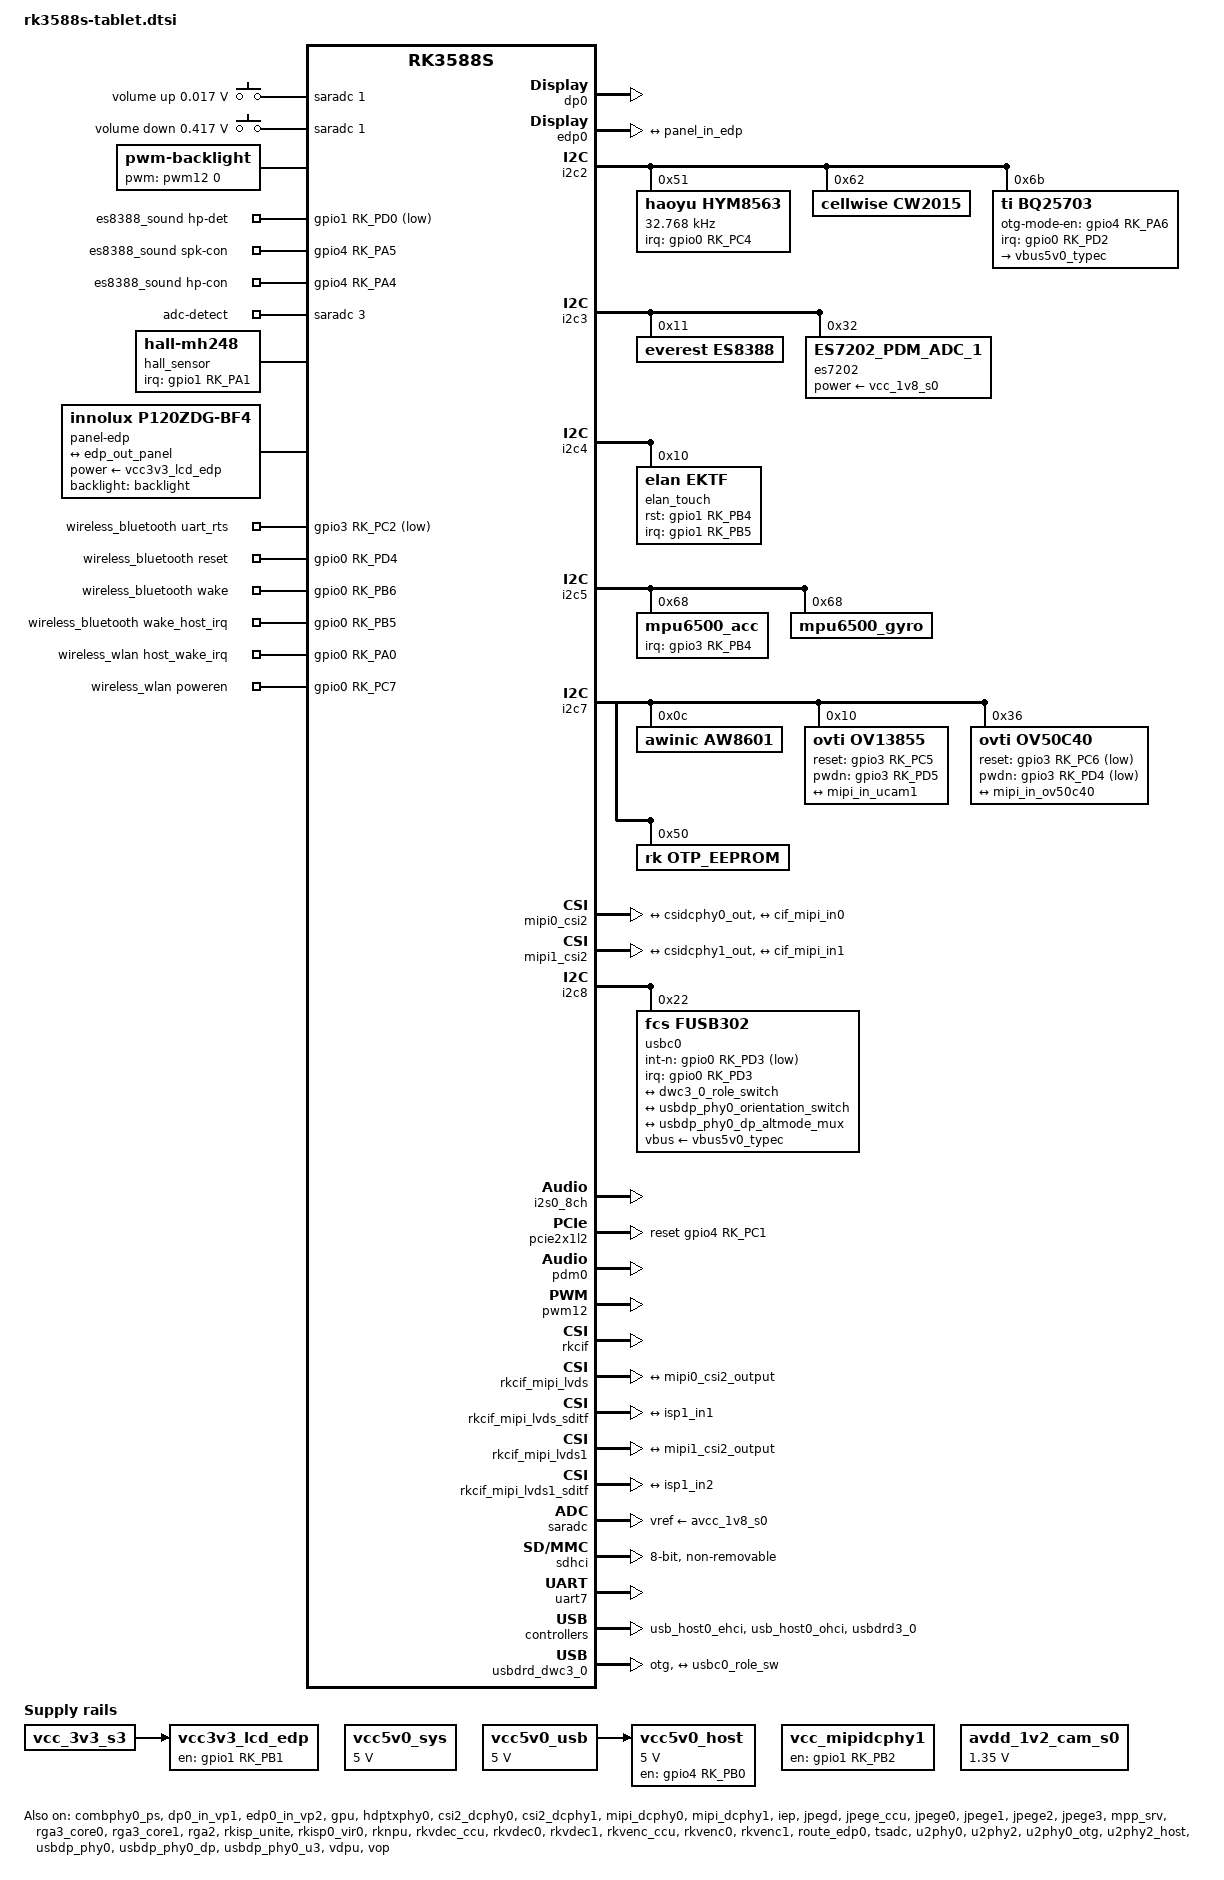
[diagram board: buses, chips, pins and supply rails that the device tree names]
// SPDX-License-Identifier: (GPL-2.0+ OR MIT)
/*
 * Copyright (c) 2021 Rockchip Electronics Co., Ltd.
 *
 */

#include <dt-bindings/usb/pd.h>
#include <dt-bindings/gpio/gpio.h>
#include <dt-bindings/pwm/pwm.h>
#include <dt-bindings/pinctrl/rockchip.h>
#include <dt-bindings/input/rk-input.h>
#include <dt-bindings/display/drm_mipi_dsi.h>
#include <dt-bindings/display/rockchip_vop.h>
#include <dt-bindings/sensor-dev.h>
#include "rk3588s.dtsi"
#include "rk3588-android.dtsi"
#include "rk3588s-rk806-dual.dtsi"

/ {
	adc_keys: adc-keys {
		compatible = "adc-keys";
		io-channels = <&saradc 1>;
		io-channel-names = "buttons";
		keyup-threshold-microvolt = <1800000>;
		poll-interval = <100>;

		vol-up-key {
			label = "volume up";
			linux,code = <KEY_VOLUMEUP>;
			press-threshold-microvolt = <17000>;
		};

		vol-down-key {
			label = "volume down";
			linux,code = <KEY_VOLUMEDOWN>;
			press-threshold-microvolt = <417000>;
		};
	};

	backlight: backlight {
		compatible = "pwm-backlight";
		pwms = <&pwm12 0 25000 0>;
		brightness-levels = <
			  0  20  20  21  21  22  22  23
			 23  24  24  25  25  26  26  27
			 27  28  28  29  29  30  30  31
			 31  32  32  33  33  34  34  35
			 35  36  36  37  37  38  38  39
			 40  41  42  43  44  45  46  47
			 48  49  50  51  52  53  54  55
			 56  57  58  59  60  61  62  63
			 64  65  66  67  68  69  70  71
			 72  73  74  75  76  77  78  79
			 80  81  82  83  84  85  86  87
			 88  89  90  91  92  93  94  95
			 96  97  98  99 100 101 102 103
			104 105 106 107 108 109 110 111
			112 113 114 115 116 117 118 119
			120 121 122 123 124 125 126 127
			128 129 130 131 132 133 134 135
			136 137 138 139 140 141 142 143
			144 145 146 147 148 149 150 151
			152 153 154 155 156 157 158 159
			160 161 162 163 164 165 166 167
			168 169 170 171 172 173 174 175
			176 177 178 179 180 181 182 183
			184 185 186 187 188 189 190 191
			192 193 194 195 196 197 198 199
			200 201 202 203 204 205 206 207
			208 209 210 211 212 213 214 215
			216 217 218 219 220 221 222 223
			224 225 226 227 228 229 230 231
			232 233 234 235 236 237 238 239
			240 241 242 243 244 245 246 247
			248 249 250 251 252 253 254 255
		>;
		default-brightness-level = <200>;
	};

	charge-animation {
		compatible = "rockchip,uboot-charge";
		rockchip,uboot-charge-on = <1>;
		rockchip,android-charge-on = <0>;
		rockchip,uboot-low-power-voltage = <6800>;
		rockchip,screen-on-voltage = <6900>;
		rockchip,uboot-exit-charge-level = <2>;
		rockchip,uboot-exit-charge-auto = <0>;
		rockchip,system-suspend = <1>;
		regulator-on-in-mem = <&vdd_log_s0>, <&vcc_2v0_pldo_s3>,
		      <&vdd2_ddr_s3>, <&vcc_1v1_nldo_s3>,
		      <&vdd1_1v8_ddr_s3>, <&vcc_1v8_s3>,
		      <&master_pldo6_s3>, <&vdd_0v75_s3>,
		      <&vdd2l_0v9_ddr_s3>, <&vdd_1v8_pll_s0>, <&pldo6_s3>;

		regulator-off-in-mem = <&vdd_gpu_s0>, <&vdd_npu_s0>,
		       <&vdd_vdenc_s0>, <&vdd_gpu_mem_s0>, <&vdd_npu_mem_s0>,
		       <&vdd_vdenc_mem_s0>, <&avcc_1v8_s0>, <&vcc_3v3_s0>,
		       <&vccio_sd_s0>, <&master_nldo3>, <&avdd_0v75_s0>,
		       <&vdd_0v85_s0>, <&vdd_cpu_big1_s0>, <&vdd_cpu_big0_s0>,
		       <&vdd_cpu_lit_s0>, <&vdd_cpu_big1_mem_s0>, <&vdd_cpu_big0_mem_s0>,
		       <&vcc_1v8_s0>, <&vdd_cpu_lit_mem_s0>, <&vddq_ddr_s0>,
		       <&vdd_ddr_s0>, <&vcc_1v8_cam_s0>, <&avdd1v8_ddr_pll_s0>,
		       <&vcc_3v3_sd_s0>, <&vcc_2v8_cam_s0>, <&vdd_0v75_pll_s0>,
		       <&vdd_ddr_pll_s0>, <&slave_nldo3>, <&avdd_1v2_cam_s0>,
		       <&avdd_1v2_s0>, <&vcc_3v3_s3>;
		status = "okay";
	};

	es7202_sound_micarray: es7202-sound-micarray {
		status = "okay";
		compatible = "simple-audio-card";
		simple-audio-card,format = "i2s";
		simple-audio-card,name = "rockchip,sound-micarray";
		simple-audio-card,mclk-fs = <256>;
		simple-audio-card,dai-link@0 {
			format = "pdm";
			cpu {
				sound-dai = <&pdm0>;
			};
			codec {
				sound-dai = <&es7202>;
			};
		};
	};

	es8388_sound: es8388-sound {
		status = "okay";
		compatible = "rockchip,multicodecs-card";
		rockchip,card-name = "rockchip,es8388-codec";
		hp-det-gpio = <&gpio1 RK_PD0 GPIO_ACTIVE_LOW>;
		io-channels = <&saradc 3>;
		io-channel-names = "adc-detect";
		keyup-threshold-microvolt = <1800000>;
		poll-interval = <100>;
		spk-con-gpio = <&gpio4 RK_PA5 GPIO_ACTIVE_HIGH>;
		hp-con-gpio = <&gpio4 RK_PA4 GPIO_ACTIVE_HIGH>;
		rockchip,format = "i2s";
		rockchip,mclk-fs = <256>;
		rockchip,cpu = <&i2s0_8ch>;
		rockchip,codec = <&es8388>;
		rockchip,audio-routing =
			"Headphone", "LOUT1",
			"Headphone", "ROUT1",
			"Speaker", "LOUT2",
			"Speaker", "ROUT2",
			"Headphone", "Headphone Power",
			"Headphone", "Headphone Power",
			"Speaker", "Speaker Power",
			"Speaker", "Speaker Power",
			"LINPUT1", "Main Mic",
			"LINPUT2", "Main Mic",
			"RINPUT1", "Headset Mic",
			"RINPUT2", "Headset Mic";
		pinctrl-names = "default";
		pinctrl-0 = <&hp_det>;
		play-pause-key {
			label = "playpause";
			linux,code = <KEY_PLAYPAUSE>;
			press-threshold-microvolt = <2000>;
		};
	};

	hall_sensor: hall-mh248 {
		compatible = "hall-mh248";
		pinctrl-names = "default";
		pinctrl-0 = <&mh248_irq_gpio>;
		irq-gpio = <&gpio1 RK_PA1 IRQ_TYPE_EDGE_BOTH>;
		hall-active = <1>;
		status = "okay";
	};

	panel-edp {
		compatible = "innolux,p120zdg-bf4", "simple-panel";
		backlight = <&backlight>;
		power-supply = <&vcc3v3_lcd_edp>;
		prepare-delay-ms = <120>;
		enable-delay-ms = <120>;
		unprepare-delay-ms = <500>;
		disable-delay-ms = <120>;
		width-mm = <254>;
		height-mm = <169>;

		panel-timing {
			clock-frequency = <206000000>;
			hactive = <2160>;
			vactive = <1440>;
			hfront-porch = <48>;
			hsync-len = <32>;
			hback-porch = <80>;
			vfront-porch = <3>;
			vsync-len = <10>;
			vback-porch = <27>;
			hsync-active = <0>;
			vsync-active = <0>;
			de-active = <0>;
			pixelclk-active = <0>;
		};

		port {
			panel_in_edp: endpoint {
				remote-endpoint = <&edp_out_panel>;
			};
		};
	};

	vcc3v3_lcd_edp: vcc3v3-lcd-edp {
		compatible = "regulator-fixed";
		regulator-name = "vcc3v3_lcd_edp";
		regulator-boot-on;
		gpio = <&gpio1 RK_PB1 GPIO_ACTIVE_HIGH>;
		enable-active-high;
		vin-supply = <&vcc_3v3_s3>;
	};

	vcc5v0_host: vcc5v0-host {
		compatible = "regulator-fixed";
		regulator-name = "vcc5v0_host";
		regulator-boot-on;
		regulator-always-on;
		regulator-min-microvolt = <5000000>;
		regulator-max-microvolt = <5000000>;
		enable-active-high;
		gpio = <&gpio4 RK_PB0 GPIO_ACTIVE_HIGH>;
		vin-supply = <&vcc5v0_usb>;
		pinctrl-names = "default";
		pinctrl-0 = <&vcc5v0_host_en>;
	};

	vcc5v0_sys: vcc5v0-sys {
		compatible = "regulator-fixed";
		regulator-name = "vcc5v0_sys";
		regulator-always-on;
		regulator-boot-on;
		regulator-min-microvolt = <5000000>;
		regulator-max-microvolt = <5000000>;
	};

	vcc5v0_usb: vcc5v0-usb {
		compatible = "regulator-fixed";
		regulator-name = "vcc5v0_usb";
		regulator-always-on;
		regulator-boot-on;
		regulator-min-microvolt = <5000000>;
		regulator-max-microvolt = <5000000>;
	};

	vcc_mipidcphy1: vcc-mipidcphy1-regulator {
		compatible = "regulator-fixed";
		gpio = <&gpio1 RK_PB2 GPIO_ACTIVE_HIGH>;
		pinctrl-names = "default";
		pinctrl-0 = <&mipidcphy1_pwr>;
		regulator-name = "vcc_mipidcphy1";
		enable-active-high;
		regulator-always-on;
		regulator-boot-on;
	};

	wireless_bluetooth: wireless-bluetooth {
		compatible = "bluetooth-platdata";
		clocks = <&hym8563>;
		clock-names = "ext_clock";
		uart_rts_gpios = <&gpio3 RK_PC2 GPIO_ACTIVE_LOW>;
		pinctrl-names = "default", "rts_gpio";
		pinctrl-0 = <&uart7m1_rtsn>,  <&bt_reset_gpio>, <&bt_wake_gpio>, <&bt_irq_gpio>;
		pinctrl-1 = <&uart7_gpios>;
		BT,reset_gpio    = <&gpio0 RK_PD4 GPIO_ACTIVE_HIGH>;
		BT,wake_gpio     = <&gpio0 RK_PB6 GPIO_ACTIVE_HIGH>;
		BT,wake_host_irq = <&gpio0 RK_PB5 GPIO_ACTIVE_HIGH>;
		status = "okay";
	};

	wireless_wlan: wireless-wlan {
		compatible = "wlan-platdata";
		wifi_chip_type = "ap6275p";
		pinctrl-names = "default";
		pinctrl-0 = <&wifi_host_wake_irq>, <&wifi_poweren_gpio>;
		WIFI,host_wake_irq = <&gpio0 RK_PA0 GPIO_ACTIVE_HIGH>;
		WIFI,poweren_gpio = <&gpio0 RK_PC7 GPIO_ACTIVE_HIGH>;
		status = "okay";
	};
};

&av1d_mmu {
	status = "okay";
};

&avdd_1v2_cam_s0 {
	regulator-min-microvolt = <1350000>;
	regulator-max-microvolt = <1350000>;
	regulator-ramp-delay = <12500>;
};

&combphy0_ps {
	status = "okay";
};

&cpu_l0 {
	cpu-supply = <&vdd_cpu_lit_s0>;
	mem-supply = <&vdd_cpu_lit_mem_s0>;
};

&cpu_b0 {
	cpu-supply = <&vdd_cpu_big0_s0>;
	mem-supply = <&vdd_cpu_big0_mem_s0>;
};

&cpu_b2 {
	cpu-supply = <&vdd_cpu_big1_s0>;
	mem-supply = <&vdd_cpu_big1_mem_s0>;
};

&dp0 {
	status = "okay";
};

&dp0_in_vp1 {
	status = "okay";
};

&edp0 {
	support-psr;
	force-hpd;
	status = "okay";

	ports {
		port@1 {
			reg = <1>;

			edp_out_panel: endpoint {
				remote-endpoint = <&panel_in_edp>;
			};
		};
	};
};

&edp0_in_vp2 {
	status = "okay";
};

&fiq_debugger {
	pinctrl-0 = <&uart2m1_xfer>;
};

&gpu {
	mali-supply = <&vdd_gpu_s0>;
	mem-supply = <&vdd_gpu_mem_s0>;
	status = "okay";
};

&hdptxphy0 {
	/* Single Vdiff Training Table for power reduction (optional) */
	training-table = /bits/ 8 <
		/* voltage swing 0, pre-emphasis 0->3 */
		0x0d 0x00 0x00 0x00 0x00 0x00
		0x0d 0x00 0x00 0x00 0x00 0x00
		0x0d 0x00 0x00 0x00 0x00 0x00
		0x0d 0x00 0x00 0x00 0x00 0x00
		/* voltage swing 1, pre-emphasis 0->2 */
		0x0d 0x00 0x00 0x00 0x00 0x00
		0x0d 0x00 0x00 0x00 0x00 0x00
		0x0d 0x00 0x00 0x00 0x00 0x00
		/* voltage swing 2, pre-emphasis 0->1 */
		0x0d 0x00 0x00 0x00 0x00 0x00
		0x0d 0x00 0x00 0x00 0x00 0x00
		/* voltage swing 3, pre-emphasis 0 */
		0x0d 0x00 0x00 0x00 0x00 0x00
	>;
	status = "okay";
};

&i2c2 {
	status = "okay";

	hym8563: hym8563@51 {
		compatible = "haoyu,hym8563";
		reg = <0x51>;
		#clock-cells = <0>;
		clock-frequency = <32768>;
		clock-output-names = "hym8563";
		pinctrl-names = "default";
		pinctrl-0 = <&rtc_int>;

		interrupt-parent = <&gpio0>;
		interrupts = <RK_PC4 IRQ_TYPE_LEVEL_LOW>;
		wakeup-source;
	};

	cw2015@62 {
		status = "okay";
		compatible = "cellwise,cw2015";
		reg = <0x62>;
		cellwise,battery-profile = /bits/ 8
			<0x17 0x67 0x6C 0x66 0x65 0x64 0x61 0x5B
			 0x5F 0x75 0x49 0x52 0x50 0x51 0x48 0x3D
			 0x34 0x2C 0x29 0x21 0x23 0x2D 0x40 0x49
			 0x25 0x5C 0x0B 0x85 0x10 0x1F 0x31 0x49
			 0x58 0x5E 0x63 0x6C 0x3E 0x1D 0x9A 0x35
			 0x0A 0x33 0x15 0x3B 0x70 0x99 0xAB 0x17
			 0x40 0x75 0x99 0xC4 0x80 0xB5 0xDE 0xCB
			 0x2F 0x00 0x64 0xA5 0xB5 0x00 0xF8 0x39>;
		cellwise,dual-cell = <1>;
		cellwise,monitor-interval-ms = <5000>;
		power-supplies = <&bq25703>;
	};

	bq25703: bq25703@6b {
		status = "okay";
		compatible = "ti,bq25703";
		reg = <0x6b>;
		ti,usb-charger-detection = <&usbc0>;

		interrupt-parent = <&gpio0>;
		interrupts = <RK_PD2 IRQ_TYPE_LEVEL_LOW>;
		otg-mode-en-gpios = <&gpio4 RK_PA6 GPIO_ACTIVE_HIGH>;
		pinctrl-names = "default";
		pinctrl-0 = <&charger_ok>;
		extcon = <&u2phy0>;
		ti,charge-current = <2500000>;
		ti,max-input-voltage = <20000000>;
		ti,max-input-current = <6000000>;
		ti,max-charge-voltage = <8750000>;
		ti,input-current = <500000>;
		ti,input-current-sdp = <500000>;
		ti,input-current-dcp = <2000000>;
		ti,input-current-cdp = <2000000>;
		ti,minimum-sys-voltage = <7400000>;
		ti,otg-voltage = <5000000>;
		ti,otg-current = <1500000>;
		pd-charge-only = <0>;
		regulators {
			vbus5v0_typec: vbus5v0-typec {
				regulator-compatible = "otg-vbus";
				regulator-name = "vbus5v0_typec";
			};
		};
	};
};

&i2c3 {
	status = "okay";

	es8388: es8388@11 {
		status = "okay";
		#sound-dai-cells = <0>;
		compatible = "everest,es8388", "everest,es8323";
		reg = <0x11>;
		clocks = <&cru I2S0_8CH_MCLKOUT>;
		clock-names = "mclk";
		assigned-clocks = <&cru I2S0_8CH_MCLKOUT>;
		assigned-clock-rates = <12288000>;
		pinctrl-names = "default";
		pinctrl-0 = <&i2s0_mclk>;
	};

	es7202: es7202@32 {
		status = "okay";
		#sound-dai-cells = <0>;
		compatible = "ES7202_PDM_ADC_1";
		power-supply = <&vcc_1v8_s0>;	/* only 1v8 or 3v3, default is 3v3 */
		reg = <0x32>;
	};
};

&i2c4 {
	status = "okay";
	pinctrl-names = "default";
	pinctrl-0 = <&i2c4m3_xfer>;

	elan_touch: elan_ktf@10 {
		status = "okay";
		compatible = "elan,ektf";
		reg = <0x10>;
		pinctrl-names = "default";
		pinctrl-0 = <&touch_gpio>;
		elan,rst-gpio = <&gpio1 RK_PB4 GPIO_ACTIVE_HIGH>;
		elan,irq-gpio = <&gpio1 RK_PB5 IRQ_TYPE_LEVEL_LOW>;
		chip_type = <0x01>;	/* 1:HID IIC, 0: NORMAL IIC */
		report_type = <0x01>;	/* 1:B protocol, 0:A protocol */
	};
};

&i2c5 {
	status = "okay";
	pinctrl-names = "default";
	pinctrl-0 = <&i2c5m0_xfer>;

	mpu6500_acc: mpu_acc@68 {
		status = "okay";
		compatible = "mpu6500_acc";
		reg = <0x68>;
		irq-gpio = <&gpio3 RK_PB4 IRQ_TYPE_EDGE_RISING>;
		irq_enable = <0>;
		poll_delay_ms = <30>;
		type = <SENSOR_TYPE_ACCEL>;
		layout = <5>;
	};

	mpu6500_gyro: mpu_gyro@68 {
		status = "okay";
		compatible = "mpu6500_gyro";
		reg = <0x68>;
		poll_delay_ms = <30>;
		type = <SENSOR_TYPE_GYROSCOPE>;
		layout = <5>;
	};
};

&i2c6 {
	status = "disabled";
};

&i2c7 {
	status = "okay";
	pinctrl-names = "default";
	pinctrl-0 = <&i2c7m2_xfer>;

	aw8601: aw8601@c {
		compatible = "awinic,aw8601";
		status = "okay";
		reg = <0x0c>;
		rockchip,vcm-start-current = <56>;
		rockchip,vcm-rated-current = <96>;
		rockchip,vcm-step-mode = <4>;
		rockchip,camera-module-index = <0>;
		rockchip,camera-module-facing = "back";
	};

	ov13855: ov13855@10 {
		compatible = "ovti,ov13855";
		status = "okay";
		reg = <0x10>;
		clocks = <&cru CLK_MIPI_CAMARAOUT_M2>;
		clock-names = "xvclk";
		power-domains = <&power RK3588_PD_VI>;
		pinctrl-names = "default";
		pinctrl-0 = <&mipim1_camera2_clk>;
		rockchip,grf = <&sys_grf>;
		reset-gpios = <&gpio3 RK_PC5 GPIO_ACTIVE_HIGH>;
		pwdn-gpios = <&gpio3 RK_PD5 GPIO_ACTIVE_HIGH>;
		rockchip,camera-module-index = <1>;
		rockchip,camera-module-facing = "front";
		rockchip,camera-module-name = "CMK-OT2016-FV1";
		rockchip,camera-module-lens-name = "default";
		port {
			ov13855_out: endpoint {
				remote-endpoint = <&mipi_in_ucam1>;
				data-lanes = <1 2 3 4>;
			};
		};
	};

	ov50c40: ov50c40@36 {
		compatible = "ovti,ov50c40";
		status = "okay";
		reg = <0x36>;
		clocks = <&cru CLK_MIPI_CAMARAOUT_M1>;
		clock-names = "xvclk";
		power-domains = <&power RK3588_PD_VI>;
		pinctrl-names = "default";
		pinctrl-0 = <&mipim1_camera1_clk>;
		rockchip,grf = <&sys_grf>;
		reset-gpios = <&gpio3 RK_PC6 GPIO_ACTIVE_LOW>;
		pwdn-gpios = <&gpio3 RK_PD4 GPIO_ACTIVE_LOW>;
		rockchip,camera-module-index = <0>;
		rockchip,camera-module-facing = "back";
		rockchip,camera-module-name = "HZGA06";
		rockchip,camera-module-lens-name = "ZE0082C1";
		eeprom-ctrl = <&otp_eeprom>;
		lens-focus = <&aw8601>;
		port {
			ov50c40_out: endpoint {
				remote-endpoint = <&mipi_in_ov50c40>;
				data-lanes = <1 2 3 4>;
			};
		};
	};

	otp_eeprom: otp_eeprom@50 {
		compatible = "rk,otp_eeprom";
		status = "okay";
		reg = <0x50>;
	};
};

&csi2_dcphy0 {
	status = "okay";

	ports {
		#address-cells = <1>;
		#size-cells = <0>;
		port@0 {
			reg = <0>;
			#address-cells = <1>;
			#size-cells = <0>;

			mipi_in_ov50c40: endpoint@1 {
				reg = <1>;
				remote-endpoint = <&ov50c40_out>;
				data-lanes = <1 2 3 4>;
			};
		};
		port@1 {
			reg = <1>;
			#address-cells = <1>;
			#size-cells = <0>;

			csidcphy0_out: endpoint@0 {
				reg = <0>;
				remote-endpoint = <&mipi0_csi2_input>;
			};
		};
	};
};

&csi2_dcphy1 {
	status = "okay";

	ports {
		#address-cells = <1>;
		#size-cells = <0>;
		port@0 {
			reg = <0>;
			#address-cells = <1>;
			#size-cells = <0>;

			mipi_in_ucam1: endpoint@1 {
				reg = <1>;
				remote-endpoint = <&ov13855_out>;
				data-lanes = <1 2 3 4>;
			};
		};
		port@1 {
			reg = <1>;
			#address-cells = <1>;
			#size-cells = <0>;

			csidcphy1_out: endpoint@0 {
				reg = <0>;
				remote-endpoint = <&mipi1_csi2_input>;
			};
		};
	};
};

&mipi_dcphy0 {
	status = "okay";
};

&mipi_dcphy1 {
	status = "okay";
};

&mipi0_csi2 {
	status = "okay";

	ports {
		#address-cells = <1>;
		#size-cells = <0>;

		port@0 {
			reg = <0>;
			#address-cells = <1>;
			#size-cells = <0>;

			mipi0_csi2_input: endpoint@1 {
				reg = <1>;
				remote-endpoint = <&csidcphy0_out>;
			};
		};

		port@1 {
			reg = <1>;
			#address-cells = <1>;
			#size-cells = <0>;

			mipi0_csi2_output: endpoint@0 {
				reg = <0>;
				remote-endpoint = <&cif_mipi_in0>;
			};
		};
	};
};

&mipi1_csi2 {
	status = "okay";

	ports {
		#address-cells = <1>;
		#size-cells = <0>;

		port@0 {
			reg = <0>;
			#address-cells = <1>;
			#size-cells = <0>;

			mipi1_csi2_input: endpoint@1 {
				reg = <1>;
				remote-endpoint = <&csidcphy1_out>;
			};
		};

		port@1 {
			reg = <1>;
			#address-cells = <1>;
			#size-cells = <0>;

			mipi1_csi2_output: endpoint@0 {
				reg = <0>;
				remote-endpoint = <&cif_mipi_in1>;
			};
		};
	};
};

&i2c8 {
	status = "okay";
	pinctrl-names = "default";
	pinctrl-0 = <&i2c8m2_xfer>;

	usbc0: fusb302@22 {
		compatible = "fcs,fusb302";
		reg = <0x22>;
		interrupt-parent = <&gpio0>;
		interrupts = <RK_PD3 IRQ_TYPE_LEVEL_LOW>;
		int-n-gpios = <&gpio0 RK_PD3 GPIO_ACTIVE_LOW>;
		pinctrl-names = "default";
		pinctrl-0 = <&usbc0_int>;
		vbus-supply = <&vbus5v0_typec>;
		status = "okay";

		ports {
			#address-cells = <1>;
			#size-cells = <0>;

			port@0 {
				reg = <0>;
				usbc0_role_sw: endpoint@0 {
					remote-endpoint = <&dwc3_0_role_switch>;
				};
			};
		};

		usb_con: connector {
			compatible = "usb-c-connector";
			label = "USB-C";
			data-role = "dual";
			power-role = "dual";
			try-power-role = "sink";
			op-sink-microwatt = <1000000>;
			sink-pdos =
				<PDO_FIXED(5000, 3000, PDO_FIXED_USB_COMM)
				 PDO_FIXED(9000, 3000, PDO_FIXED_USB_COMM)
				 PDO_FIXED(12000, 3000, PDO_FIXED_USB_COMM)>;
			source-pdos =
				<PDO_FIXED(5000, 3000, PDO_FIXED_USB_COMM)>;

			altmodes {
				#address-cells = <1>;
				#size-cells = <0>;

				altmode@0 {
					reg = <0>;
					svid = <0xff01>;
					vdo = <0xffffffff>;
				};
			};

			ports {
				#address-cells = <1>;
				#size-cells = <0>;

				port@0 {
					reg = <0>;
					usbc0_orien_sw: endpoint {
						remote-endpoint = <&usbdp_phy0_orientation_switch>;
					};
				};

				port@1 {
					reg = <1>;
					dp_altmode_mux: endpoint {
						remote-endpoint = <&usbdp_phy0_dp_altmode_mux>;
					};
				};
			};
		};
	};
};

&i2s0_8ch {
	status = "okay";
	rockchip,clk-trcm = <1>;
	pinctrl-0 = <&i2s0_lrck
		     &i2s0_sclk
		     &i2s0_sdi0
		     &i2s0_sdo0>;
};

&iep {
	status = "okay";
};

&iep_mmu {
	status = "okay";
};

&jpegd {
	status = "okay";
};

&jpegd_mmu {
	status = "okay";
};

&jpege_ccu {
	status = "okay";
};

&jpege0 {
	status = "okay";
};

&jpege0_mmu {
	status = "okay";
};

&jpege1 {
	status = "okay";
};

&jpege1_mmu {
	status = "okay";
};

&jpege2 {
	status = "okay";
};

&jpege2_mmu {
	status = "okay";
};

&jpege3 {
	status = "okay";
};

&jpege3_mmu {
	status = "okay";
};

&mpp_srv {
	status = "okay";
};

&pcie2x1l2 {
	reset-gpios = <&gpio4 RK_PC1 GPIO_ACTIVE_HIGH>;
	rockchip,skip-scan-in-resume;
	status = "okay";
};

&pdm0 {
	rockchip,path-map = <2 0 1 3>;
	status = "okay";
};

&pinctrl {
	cam {
		mipidcphy1_pwr: mipidcphy1-pwr {
			rockchip,pins =
				/* camera power en */
				<1 RK_PB2 RK_FUNC_GPIO &pcfg_pull_none>;
		};
	};

	charger {
		charger_ok: charger_ok {
			rockchip,pins = <0 RK_PD2 RK_FUNC_GPIO &pcfg_pull_up>;
		};
	};

	headphone {
		hp_det: hp-det {
			rockchip,pins = <1 RK_PD0 RK_FUNC_GPIO &pcfg_pull_none>;
		};
	};

	hym8563 {
		rtc_int: rtc-int {
			rockchip,pins = <0 RK_PC4 RK_FUNC_GPIO &pcfg_pull_up>;
		};
	};

	sensor {
		mpu6500_irq_gpio: mpu6500-irq-gpio {
			rockchip,pins = <3 RK_PB4 RK_FUNC_GPIO &pcfg_pull_none>;
		};

		mh248_irq_gpio: mh248-irq-gpio {
			rockchip,pins = <1 RK_PA1 RK_FUNC_GPIO &pcfg_pull_up>;
		};
	};

	touch {
		touch_gpio: touch-gpio {
			rockchip,pins =
				<1 RK_PB4 RK_FUNC_GPIO &pcfg_pull_up>,
				<1 RK_PB5 RK_FUNC_GPIO &pcfg_pull_none>;
		};
	};

	usb {
		vcc5v0_host_en: vcc5v0-host-en {
			rockchip,pins = <4 RK_PB0 RK_FUNC_GPIO &pcfg_pull_none>;
		};
	};

	usb-typec {
		usbc0_int: usbc0-int {
			rockchip,pins = <0 RK_PD3 RK_FUNC_GPIO &pcfg_pull_up>;
		};
	};

	wireless-bluetooth {
		uart7_gpios: uart7-gpios {
			rockchip,pins = <3 RK_PC2 RK_FUNC_GPIO &pcfg_pull_none>;
		};

		bt_reset_gpio: bt-reset-gpio {
			rockchip,pins = <0 RK_PD4 RK_FUNC_GPIO &pcfg_pull_none>;
		};

		bt_wake_gpio: bt-wake-gpio {
			rockchip,pins = <0 RK_PB6 RK_FUNC_GPIO &pcfg_pull_none>;
		};

		bt_irq_gpio: bt-irq-gpio {
			rockchip,pins = <0 RK_PB5 RK_FUNC_GPIO &pcfg_pull_down>;
		};
	};

	wireless-wlan {
		wifi_host_wake_irq: wifi-host-wake-irq {
			rockchip,pins = <0 RK_PA0 RK_FUNC_GPIO &pcfg_pull_down>;
		};

		wifi_poweren_gpio: wifi-poweren-gpio {
			rockchip,pins = <0 RK_PC7 RK_FUNC_GPIO &pcfg_pull_up>;
		};
	};
};

&pwm12 {
	pinctrl-0 = <&pwm12m1_pins>;
	status = "okay";
};

&rga3_core0 {
	status = "okay";
};

&rga3_0_mmu {
	status = "okay";
};

&rga3_core1 {
	status = "okay";
};

&rga3_1_mmu {
	status = "okay";
};

&rga2 {
	status = "okay";
};

&rkcif {
	status = "okay";
};

&rkcif_mipi_lvds {
	status = "okay";

	port {
		cif_mipi_in0: endpoint {
			remote-endpoint = <&mipi0_csi2_output>;
		};
	};
};

&rkcif_mipi_lvds_sditf {
	status = "okay";

	port {
		mipi_lvds_sditf: endpoint {
			remote-endpoint = <&isp1_in1>;
		};
	};
};

&rkcif_mipi_lvds1 {
	status = "okay";

	port {
		cif_mipi_in1: endpoint {
			remote-endpoint = <&mipi1_csi2_output>;
		};
	};
};

&rkcif_mipi_lvds1_sditf {
	status = "okay";

	port {
		mipi1_lvds_sditf: endpoint {
			remote-endpoint = <&isp1_in2>;
		};
	};
};

&rkcif_mmu {
	status = "okay";
};

&rkisp_unite {
	status = "okay";

};

&rkisp_unite_mmu {
	status = "okay";
};

&rkisp0_vir0 {
	status = "okay";
	/*
	 * dual isp process image case
	 * other rkisp hw and virtual nodes should disabled
	 */
	rockchip,hw = <&rkisp_unite>;
	port {
		#address-cells = <1>;
		#size-cells = <0>;

		isp1_in1: endpoint@0 {
			reg = <0>;
			remote-endpoint = <&mipi_lvds_sditf>;
		};
		isp1_in2: endpoint@1 {
			reg = <1>;
			remote-endpoint = <&mipi1_lvds_sditf>;
		};
	};
};

&rknpu {
	rknpu-supply = <&vdd_npu_s0>;
	mem-supply = <&vdd_npu_mem_s0>;
	status = "okay";
};

&rknpu_mmu {
	status = "okay";
};

&rkvdec_ccu {
	status = "okay";
};

&rkvdec0 {
	status = "okay";
};

&rkvdec0_mmu {
	status = "okay";
};

&rkvdec1 {
	status = "okay";
};

&rkvdec1_mmu {
	status = "okay";
};

&rkvenc_ccu {
	status = "okay";
};

&rkvenc0 {
	status = "okay";
};

&rkvenc0_mmu {
	status = "okay";
};

&rkvenc1 {
	status = "okay";
};

&rkvenc1_mmu {
	status = "okay";
};

&rockchip_suspend {
	status = "okay";
	rockchip,sleep-debug-en = <1>;
};

&route_edp0 {
	connect = <&vp2_out_edp0>;
	status = "okay";
};

&saradc {
	status = "okay";
	vref-supply = <&avcc_1v8_s0>;
};

&sdhci {
	bus-width = <8>;
	no-sdio;
	no-sd;
	non-removable;
	max-frequency = <200000000>;
	mmc-hs400-1_8v;
	mmc-hs400-enhanced-strobe;
	status = "okay";
};

&sdmmc {
	max-frequency = <150000000>;
	no-sdio;
	no-mmc;
	bus-width = <4>;
	cap-mmc-highspeed;
	cap-sd-highspeed;
	disable-wp;
	sd-uhs-sdr104;
	vmmc-supply = <&vcc_3v3_sd_s0>;
	vqmmc-supply = <&vccio_sd_s0>;
	pinctrl-names = "default";
	pinctrl-0 = <&sdmmc_bus4 &sdmmc_clk &sdmmc_cmd &sdmmc_det>;
	status = "disabled";
};

&tsadc {
	status = "okay";
};

&uart7 {
	pinctrl-names = "default";
	pinctrl-0 = <&uart7m1_xfer &uart7m1_ctsn>;
	status = "okay";
};

&u2phy0 {
	status = "okay";
};

&u2phy2 {
	status = "okay";
};

&u2phy0_otg {
	rockchip,typec-vbus-det;
	status = "okay";
};

&u2phy2_host {
	status = "okay";
	phy-supply = <&vcc5v0_host>;
};

&usb_host0_ehci {
	status = "okay";
};

&usb_host0_ohci {
	status = "okay";
};

&usbdp_phy0 {
	orientation-switch;
	svid = <0xff01>;
	sbu1-dc-gpios = <&gpio1 RK_PB6 GPIO_ACTIVE_HIGH>;
	sbu2-dc-gpios = <&gpio1 RK_PB7 GPIO_ACTIVE_HIGH>;
	status = "okay";

	port {
		#address-cells = <1>;
		#size-cells = <0>;
		usbdp_phy0_orientation_switch: endpoint@0 {
			reg = <0>;
			remote-endpoint = <&usbc0_orien_sw>;
		};

		usbdp_phy0_dp_altmode_mux: endpoint@1 {
			reg = <1>;
			remote-endpoint = <&dp_altmode_mux>;
		};
	};
};

&usbdp_phy0_dp {
	max-link-rate = <5400>;	/* Maximum link rate supported by PHY (in Mbps) */
	status = "okay";
};

&usbdp_phy0_u3 {
	status = "okay";
};

&usbdrd3_0 {
	status = "okay";
};

&usbdrd_dwc3_0 {
	dr_mode = "otg";
	status = "okay";

	usb-role-switch;
	port {
		#address-cells = <1>;
		#size-cells = <0>;
		dwc3_0_role_switch: endpoint@0 {
			reg = <0>;
			remote-endpoint = <&usbc0_role_sw>;
		};
	};
};

&usbhost3_0 {
	status = "disabled";
};

&usbhost_dwc3_0 {
	status = "disabled";
};

&vdpu {
	status = "okay";
};

&vdpu_mmu {
	status = "okay";
};

&vop {
	status = "okay";
};

&vop_mmu {
	status = "okay";
};

&vp1 {
	rockchip,plane-mask = <(1 << ROCKCHIP_VOP2_CLUSTER0 | 1 << ROCKCHIP_VOP2_ESMART0 |
				1 << ROCKCHIP_VOP2_CLUSTER1 | 1 << ROCKCHIP_VOP2_ESMART1)>;
	rockchip,primary-plane = <ROCKCHIP_VOP2_ESMART1>;
};

&vp2 {
	rockchip,plane-mask = <(1 << ROCKCHIP_VOP2_CLUSTER2 | 1 << ROCKCHIP_VOP2_ESMART2 |
				1 << ROCKCHIP_VOP2_CLUSTER3 | 1 << ROCKCHIP_VOP2_ESMART3)>;
	rockchip,primary-plane = <ROCKCHIP_VOP2_ESMART2>;
};
